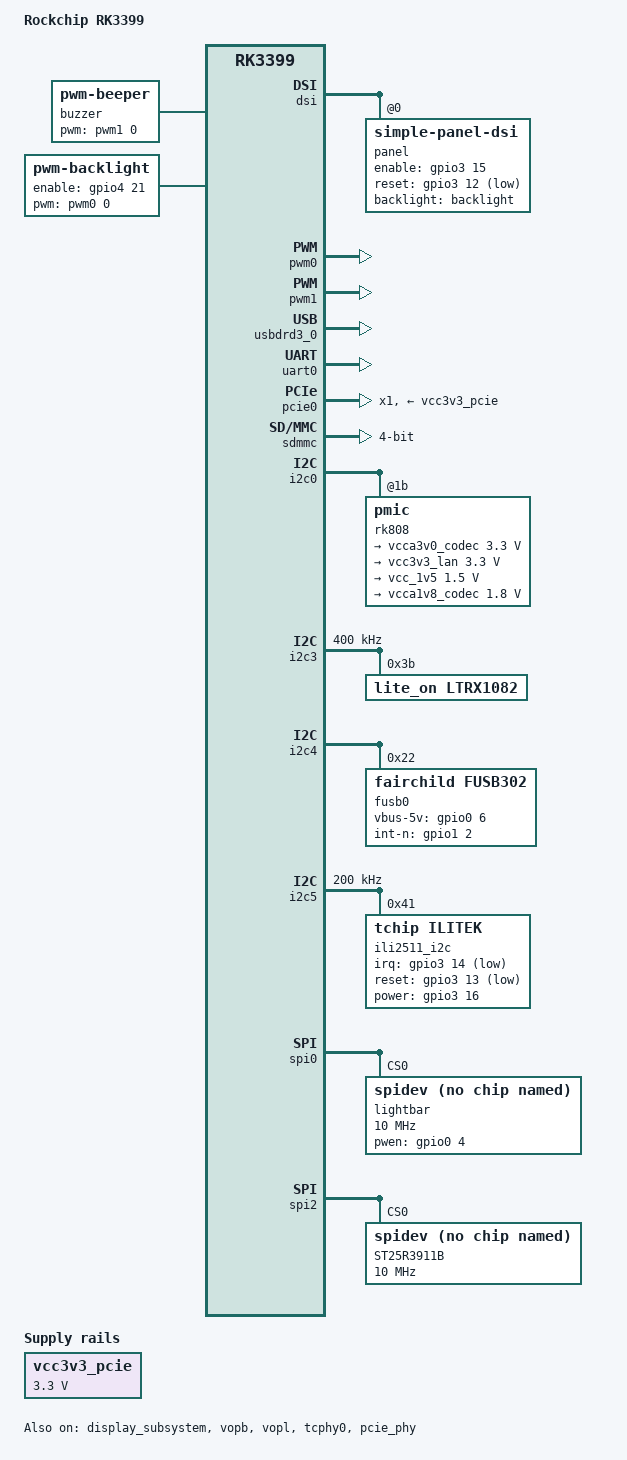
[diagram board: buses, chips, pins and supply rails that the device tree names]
/*
 * Copyright (c) 2016 Fuzhou Rockchip Electronics Co., Ltd
 *
 * This file is dual-licensed: you can use it either under the terms
 * of the GPL or the X11 license, at your option. Note that this dual
 * licensing only applies to this file, and not this project as a
 * whole.
 *
 *  a) This file is free software; you can redistribute it and/or
 *     modify it under the terms of the GNU General Public License as
 *     published by the Free Software Foundation; either version 2 of the
 *     License, or (at your option) any later version.
 *
 *     This file is distributed in the hope that it will be useful,
 *     but WITHOUT ANY WARRANTY; without even the implied warranty of
 *     MERCHANTABILITY or FITNESS FOR A PARTICULAR PURPOSE.  See the
 *     GNU General Public License for more details.
 *
 * Or, alternatively,
 *
 *  b) Permission is hereby granted, free of charge, to any person
 *     obtaining a copy of this software and associated documentation
 *     files (the "Software"), to deal in the Software without
 *     restriction, including without limitation the rights to use,
 *     copy, modify, merge, publish, distribute, sublicense, and/or
 *     sell copies of the Software, and to permit persons to whom the
 *     Software is furnished to do so, subject to the following
 *     conditions:
 *
 *     The above copyright notice and this permission notice shall be
 *     included in all copies or substantial portions of the Software.
 *
 *     THE SOFTWARE IS PROVIDED "AS IS", WITHOUT WARRANTY OF ANY KIND,
 *     EXPRESS OR IMPLIED, INCLUDING BUT NOT LIMITED TO THE WARRANTIES
 *     OF MERCHANTABILITY, FITNESS FOR A PARTICULAR PURPOSE AND
 *     NONINFRINGEMENT. IN NO EVENT SHALL THE AUTHORS OR COPYRIGHT
 *     HOLDERS BE LIABLE FOR ANY CLAIM, DAMAGES OR OTHER LIABILITY,
 *     WHETHER IN AN ACTION OF CONTRACT, TORT OR OTHERWISE, ARISING
 *     FROM, OUT OF OR IN CONNECTION WITH THE SOFTWARE OR THE USE OR
 *     OTHER DEALINGS IN THE SOFTWARE.
 */

/dts-v1/;
#include "rk3399-dmssa51.dtsi"

/ {
	model = "Rockchip RK3399";
	compatible = "rockchip-ds100","rockchip,rk3399-box";

	fiq_debugger: fiq-debugger {
		compatible = "rockchip,fiq-debugger";
		rockchip,serial-id = <2>;
		rockchip,wake-irq = <0>;
		rockchip,irq-mode-enable = <0>;  /* If enable uart uses irq instead of fiq */
		rockchip,baudrate = <115200>;  /* Only 115200 and 1500000 */
		pinctrl-names = "default";
		pinctrl-0 = <&uart2c_xfer>;
		interrupts = <GIC_SPI 150 IRQ_TYPE_LEVEL_HIGH 0>;
	};

	buzzer: buzzer {
		status = "okay";
		compatible = "pwm-beeper";
		pwms = <&pwm1 0 5000000 0>; //200 Hz
	};



	backlight: backlight {
		status = "okay";
		compatible = "pwm-backlight";
		pwms = <&pwm0 0 100000 0>; //10KHz
		enable-gpios = <&gpio4 21 GPIO_ACTIVE_HIGH>; //GPIO4_C5 in SA51, //GPIO3_A0
		brightness-levels = <
			  0   1   2   3   4   5   6   7
			  8   9  10  11  12  13  14  15
			 16  17  18  19  20  21  22  23
			 24  25  26  27  28  29  30  31
			 32  33  34  35  36  37  38  39
			 40  41  42  43  44  45  46  47
			 48  49  50  51  52  53  54  55
			 56  57  58  59  60  61  62  63
			 64  65  66  67  68  69  70  71
			 72  73  74  75  76  77  78  79
			 80  81  82  83  84  85  86  87
			 88  89  90  91  92  93  94  95
			 96  97  98  99 100 101 102 103
			104 105 106 107 108 109 110 111
			112 113 114 115 116 117 118 119
			120 121 122 123 124 125 126 127
			128 129 130 131 132 133 134 135
			136 137 138 139 140 141 142 143
			144 145 146 147 148 149 150 151
			152 153 154 155 156 157 158 159
			160 161 162 163 164 165 166 167
			168 169 170 171 172 173 174 175
			176 177 178 179 180 181 182 183
			184 185 186 187 188 189 190 191
			192 193 194 195 196 197 198 199
			200 201 202 203 204 205 206 207
			208 209 210 211 212 213 214 215
			216 217 218 219 220 221 222 223
			224 225 226 227 228 229 230 231
			232 233 234 235 236 237 238 239
			240 241 242 243 244 245 246 247
			248 249 250 251 252 253 254 255>;
		default-brightness-level = <200>;
	};

	vcc3v3_pcie: vcc3v3-pcie-regulator {
		compatible = "regulator-fixed";
		enable-active-high;
		regulator-always-on;
		regulator-boot-on;
		regulator-name = "vcc3v3_pcie";
		regulator-min-microvolt = <3300000>;
		regulator-max-microvolt = <3300000>;
	};
};

&display_subsystem {
	status = "okay";
	ports = <&vopb_out>, <&vopl_out>;
	logo-memory-region = <&drm_logo>;
	route {
		route_dsi: route-dsi {
			status = "okay";
			logo,uboot = "logo.bmp";
			logo,kernel = "logo_kernel.bmp";
			logo,mode = "center";
			charge_logo,mode = "center";
			connect = <&vopb_out_dsi>;
		};
	};
};

&dsi {

	status = "okay";
	//rockchip,lane-rate = <500>; 
	panel@0 {
		compatible ="simple-panel-dsi";
		reg = <0>;
		backlight = <&backlight>;
		pinctrl-names = "default";
		pinctrl-0 = <&dsi_gpio>;
		//power-supply = <&vcc_lcd>;
		enable-gpios = <&gpio3 15 GPIO_ACTIVE_HIGH>; //GPIO3_B7
		reset-gpios = <&gpio3 12 GPIO_ACTIVE_LOW>; //GPIO3_B4
		dsi,flags = <(MIPI_DSI_MODE_VIDEO | MIPI_DSI_MODE_VIDEO_BURST)>;
		dsi,format = <MIPI_DSI_FMT_RGB888>;
		//bus-format = <MEDIA_BUS_FMT_RGB666_1X18>;
		dsi,lanes = <4>;

		/* from simple-panel.txt */
		reset-delay-ms = <10>;
		init-delay-ms = <10>;
		enable-delay-ms = <10>;
		prepare-delay-ms = <10>;
		disable-delay-ms = <10>;
		unprepare-delay-ms = <10>;
		
		status = "okay";
         /*
          * <DCS CMD> <DELAY> <LENGTH> <PAYLOAD>
          * DCS cmd: 0x39 --> long write
          *          0x29 -->
          *          0x05 --> 
          *          0x15 --> 
          */

		panel-init-sequence = [
/*		    23 05 02 8F A5
		    23 16 02 01 00
		    23 05 02 8F A5
		    23 01 02 83 AA
		    23 01 02 84 11
		    23 01 02 A9 4B
		    23 01 02 83 00
		    23 01 02 84 00
		    23 01 02 8F 00
		    */
		    05 A0 01 11
		    05 10 01 29
		];


		panel-exit-sequence = [
				05 10 01 28		
				23 01 02 B0 01
				23 01 02 C0 48
				23 01 02 C1 48
				23 01 02 C2 47
				23 01 02 C3 47
				23 01 02 C4 46
				23 01 02 C5 46
				23 01 02 C6 45
				23 01 02 C7 45
				23 01 02 C8 64
				23 01 02 C9 64
				23 01 02 CA 4F
				23 01 02 CB 4F
				23 01 02 D0 4F
				23 01 02 D1 4F
				23 01 02 D2 41
				23 01 02 D3 41
				23 01 02 D4 48
				23 01 02 D5 48
				23 01 02 D6 47
				23 01 02 D7 47
				23 01 02 D8 46
				23 01 02 D9 46
				23 01 02 DA 45
				23 01 02 DB 45
				23 01 02 DC 64
				23 01 02 DD 64
				23 01 02 DE 4F
				23 01 02 DF 4F
				23 01 02 E4 4F
				23 01 02 E5 4F
				23 01 02 E6 41
				23 01 02 E7 41
				05 FF 01 10
		];

		disp_timings: display-timings {
			native-mode = <&timing0>;
			timing0: timing0 {
			   clock-frequency = <159192000>;
			   hactive = <1200>;
			   vactive = <1920>;
			   hsync-len = <4>;
			   hback-porch = <80>;
			   hfront-porch = <60>;
			   vsync-len = <2>;
			   vback-porch = <24>;
			   vfront-porch = <34>;
			   hsync-active = <0>;
			   vsync-active = <0>;
			   de-active = <0>;
			   pixelclk-active = <0>;
			};
		
		};
	};
};

&vopb {
	status = "okay";
};

&vopb_mmu {
	status = "okay";
};

&vopl {
	status = "okay";
};

&vopl_mmu {
	status = "okay";
};

&pwm0 {
	status = "okay";
};

&pwm1 {
	status = "okay";
};
 
&usbdrd3_0 {
	extcon = <&fusb0>;
	status = "okay";
};

&tcphy0 {
	extcon = <&fusb0>;
	status = "okay";
	resets = <&cru SRST_UPHY0>,
			 <&cru SRST_UPHY0_PIPE_L00>,
			 <&cru SRST_P_UPHY0_TCPHY>,
			 <&cru SRST_A_USB3_OTG0>;
	reset-names = "uphy", "uphy-pipe", "uphy-tcphy", "usb3-otg";
};

&tcphy1 {
	status = "okay";
	resets = <&cru SRST_UPHY1>,
			 <&cru SRST_UPHY1_PIPE_L00>,
			 <&cru SRST_P_UPHY1_TCPHY>,
			 <&cru SRST_A_USB3_OTG1>;
	reset-names = "uphy", "uphy-pipe", "uphy-tcphy", "usb3-otg";
};

&usbdrd3_1 {
	status = "disabled";
};

&usbdrd_dwc3_1 {
	status = "disabled";
};

&tcphy1 {
	status = "disabled";
};

&uart0 {
	pinctrl-names = "default";
	pinctrl-0 = <&uart0_xfer &uart0_cts>;
	status = "okay";
};

&pcie_phy {
	status = "okay";
};

&pcie0 {
	ep-gpios = <&gpio3 2 GPIO_ACTIVE_HIGH>; /* PCIE_PERST / GPIO3_A2 */
	num-lanes = <1>;
	pinctrl-names = "default";
	pinctrl-0 = <&pcie_clkreqn_cpm>;
	vpcie3v3-supply = <&vcc3v3_pcie>;
	status = "okay";
};

&sdmmc {
	clock-frequency = <100000000>;
	clock-freq-min-max = <100000 100000000>;
	supports-sd;
	bus-width = <4>;
	cap-mmc-highspeed;
	cap-sd-highspeed;
	disable-wp;
	num-slots = <1>;
	vqmmc-supply = <&vcc_sd>;
	pinctrl-names = "default";
	pinctrl-0 = <&sdmmc_clk &sdmmc_cmd &sdmmc_cd &sdmmc_bus4>;
	card-detect-delay = <800>;
	status = "okay";
};

&isp0_mmu {
	status = "okay";
};

&isp1_mmu {
	status = "okay";
};

&i2c0 {
	status = "okay";
	rk808: pmic@1b {
		regulators {
			vcca3v0_codec: LDO_REG2 {
				regulator-name = "vcca3v0_codec";
				regulator-min-microvolt = <3300000>;
				regulator-max-microvolt = <3300000>;
				regulator-always-on;
				regulator-boot-on;
				regulator-state-mem {
					regulator-on-in-suspend;
					regulator-suspend-microvolt = <3300000>;
				};
			};
			vcc3v3_lan: LDO_REG5 {
				regulator-name = "vcc3v3_lan";
				regulator-min-microvolt = <3300000>;
				regulator-max-microvolt = <3300000>;
				regulator-always-on;
				regulator-boot-on;
				regulator-state-mem {
					regulator-on-in-suspend;
					regulator-suspend-microvolt = <3300000>;
				};
			};
			vcc_1v5: LDO_REG6 {
				regulator-name = "vcc_1v5";
				regulator-min-microvolt = <1500000>;
				regulator-max-microvolt = <1500000>;
				regulator-always-on;
				regulator-boot-on;
				regulator-state-mem {
					regulator-on-in-suspend;
					regulator-suspend-microvolt = <1500000>;
				};
			};

			vcca1v8_codec: LDO_REG7 {
				regulator-name = "vcca1v8_codec";
				regulator-min-microvolt = <1800000>;
				regulator-max-microvolt = <1800000>;
				regulator-always-on;
				regulator-boot-on;
				regulator-state-mem {
					regulator-on-in-suspend;
					regulator-suspend-microvolt = <1800000>;
				};
			};
		};
	};
};

&i2c3 {
	status = "okay";
	clock-frequency = <400000>;
	ltr308@53 {
		compatible = "lite_on,ltr308";
		reg = <0x53>;
		status = "disabled";
	};
	
	ltrx1082@3b {
		compatible = "lite_on,ltrx1082";
		reg = <0x3b>;
		status = "okay";
	};
};


&i2c4 {
	status = "okay";
	fusb0: fusb30x@22 {
		compatible = "fairchild,fusb302";
		reg = <0x22>;
		pinctrl-names = "default";
		pinctrl-0 = <&fusb0_int>;
		vbus-5v-gpios = <&gpio0 6 GPIO_ACTIVE_HIGH>;
		int-n-gpios = <&gpio1 2 GPIO_ACTIVE_HIGH>;
		fusb302,role = "ROLE_MODE_DRP";
		status = "okay";
	};
};

&i2c5 {
	status = "okay";
	clock-frequency = <200000>;
	
	ili2511_i2c@41 {
		compatible = "tchip,ilitek";
		//compatible = "ilitek,ili251x";
		reg = <0x41>;
		//interrupt-parent = <&gpio3>;
		pinctrl-names = "default";
		pinctrl-0 = <&ctp_gpio>;
		interrupts = <174 IRQ_TYPE_EDGE_FALLING>;
		ilitek,irq-gpio = <&gpio3 14 GPIO_ACTIVE_LOW>;
		ilitek,reset-gpio = <&gpio3 13 GPIO_ACTIVE_LOW>;
		ilitek,power-gpio = <&gpio3 16 GPIO_ACTIVE_HIGH>;
		ilitek,name = "ilitek_i2c";
		max-fingers = <10>;
		status = "okay";
	};
};

&spi0 {
	status = "okay";

    max-freq = <48000000>;  
    lightbar@0 {
              //compatible = "qsc,lightbar";   //for LED class driver
              compatible = "rockchip,spidev";  //for spidev
              pinctrl-names = "default";
              pinctrl-0 = <&led_pwr>;
              // TODO: can run faster once verified.
              // TODO: add rx-sample-delay-ns.
              spi-max-frequency = <10000000>;
              reg = <0>;
              //spi-lsb-first;
              pwen-gpios = <&gpio0 4 GPIO_ACTIVE_HIGH>; //GPIO0_A4
      };

};

&spi2 {
	status = "okay";

    max-freq = <48000000>;  
      ST25R3911B@0 {
              compatible = "rockchip,spidev";
              pinctrl-names = "default";
              pinctrl-0 = <&spi2_int>;
              // TODO: can run faster once verified.
              // TODO: add rx-sample-delay-ns.
              spi-max-frequency = <10000000>;
              reg = <0>;
              //spi-lsb-first;
      };

};

&gmac {
	status = "disabled";
};

&spdif {
	status = "disabled";
};

&pinctrl {
	pinctrl-names = "default";
	pinctrl-0 = <&msr_gpio>;
	fusb30x {
		fusb0_int: fusb0-int {
			rockchip,pins =
				<1 2 RK_FUNC_GPIO &pcfg_pull_up>;
		};
	};

	ili2511_i2c {
		ctp_gpio: ctp-gpio {
			rockchip,pins =
				<3 13  RK_FUNC_GPIO &pcfg_pull_none>, // GPIO3_B5
				<3 14  RK_FUNC_GPIO &pcfg_pull_none>, //GPIO3_B6
				<3 16  RK_FUNC_GPIO &pcfg_pull_none>; //GPIO3_B0
		};
	};

	dsi {
		dsi_gpio:dsi-gpio{
			rockchip,pins=
                    <3 12  RK_FUNC_GPIO &pcfg_pull_none>, // GPIO3_B4
                    <3 15  RK_FUNC_GPIO &pcfg_pull_up>; // GPIO3_B7
			
		};
	};
	
	spi0 {
		led_pwr:led_pwr {
			rockchip,pins=
                    <0 4  RK_FUNC_GPIO &pcfg_pull_none>; // GPIO2_B0
		};
		
	};
	
	spi2 {
		spi2_int:spi2-int {
			rockchip,pins=
                    <2 8  RK_FUNC_GPIO &pcfg_pull_up>; // GPIO2_B0
		};
		
	};
	
	sdio-pwrseq {
		wifi_enable_h: wifi-enable-h {
			rockchip,pins =
				<0 10 RK_FUNC_GPIO &pcfg_pull_none>; /* GPIO0_B2 - WIFI_REG_ON_H */
		};
	};
	wireless-bluetooth {
		uart0_gpios: uart0-gpios {
			rockchip,pins =
				<2 19 RK_FUNC_GPIO &pcfg_pull_none>;
		};
	};
	msr-reader {
		msr_gpio: msr-gpio {
			rockchip,pins =
				<3 1 RK_FUNC_GPIO &pcfg_output_high>; /* GPIO3_A1 - MSR_EN */
		};
	};
	
};
